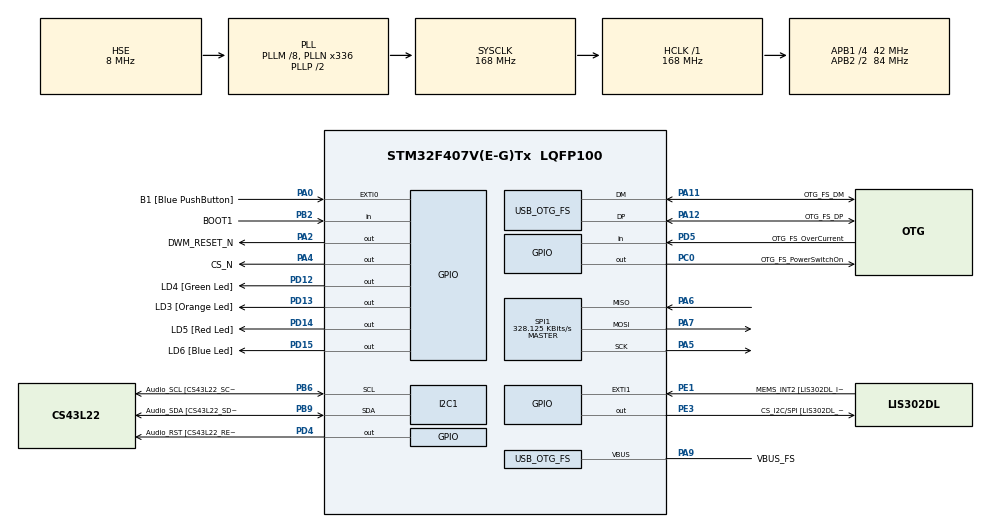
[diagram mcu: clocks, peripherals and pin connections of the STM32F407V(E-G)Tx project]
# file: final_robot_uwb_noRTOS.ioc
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Mcu.Family=STM32F4
Mcu.Name=STM32F407V(E-G)Tx
Mcu.Package=LQFP100
NVIC.OTG_FS_IRQn=true\:0\:0\:false\:false\:true\:true\:true\:true
NVIC.PriorityGroup=NVIC_PRIORITYGROUP_0
PA0-WKUP.GPIO_Label=B1 [Blue PushButton]
PA0-WKUP.GPIO_ModeDefaultEXTI=GPIO_MODE_EVT_RISING
PA0-WKUP.GPIO_PuPd=GPIO_NOPULL
PA0-WKUP.Signal=GPXTI0
PA10.GPIO_Label=OTG_FS_ID
PA10.GPIO_Mode=GPIO_MODE_AF_PP
PA10.GPIO_PuPd=GPIO_NOPULL
PA10.GPIO_Speed=GPIO_SPEED_FREQ_LOW
PA10.Signal=USB_OTG_FS_ID
PA11.GPIO_Label=OTG_FS_DM
PA11.GPIO_Mode=GPIO_MODE_AF_PP
PA11.GPIO_PuPd=GPIO_NOPULL
PA11.GPIO_Speed=GPIO_SPEED_FREQ_LOW
PA11.Mode=Host_Only
PA11.Signal=USB_OTG_FS_DM
PA12.GPIO_Label=OTG_FS_DP
PA12.GPIO_Mode=GPIO_MODE_AF_PP
PA12.GPIO_PuPd=GPIO_NOPULL
PA12.GPIO_Speed=GPIO_SPEED_FREQ_LOW
PA12.Mode=Host_Only
PA12.Signal=USB_OTG_FS_DP
PA13.GPIO_Label=SWDIO
PA13.Mode=Serial_Wire
PA13.Signal=SYS_JTMS-SWDIO
PA14.GPIO_Label=SWCLK
PA14.Mode=Serial_Wire
PA14.Signal=SYS_JTCK-SWCLK
PA2.GPIO_Label=DWM_RESET_N
PA2.GPIO_ModeDefaultOutputPP=GPIO_MODE_OUTPUT_OD
PA2.GPIO_PuPd=GPIO_PULLUP
PA2.Signal=GPIO_Output
PA4.GPIO_Label=CS_N
PA4.PinState=GPIO_PIN_SET
PA4.Signal=GPIO_Output
PA5.GPIO_Mode=GPIO_MODE_AF_PP
PA5.GPIO_PuPd=GPIO_NOPULL
PA5.GPIO_Speed=GPIO_SPEED_FREQ_VERY_HIGH
PA5.Mode=Full_Duplex_Master
PA5.Signal=SPI1_SCK
PA6.GPIO_Mode=GPIO_MODE_AF_PP
PA6.GPIO_PuPd=GPIO_NOPULL
PA6.GPIO_Speed=GPIO_SPEED_FREQ_VERY_HIGH
PA6.Mode=Full_Duplex_Master
PA6.Signal=SPI1_MISO
PA7.GPIO_Mode=GPIO_MODE_AF_PP
PA7.GPIO_PuPd=GPIO_NOPULL
PA7.GPIO_Speed=GPIO_SPEED_FREQ_VERY_HIGH
PA7.Mode=Full_Duplex_Master
PA7.Signal=SPI1_MOSI
PA9.GPIO_Label=VBUS_FS
PA9.GPIO_Mode=GPIO_MODE_INPUT
PA9.GPIO_PuPd=GPIO_NOPULL
PA9.Mode=Activate_VBUS
PA9.Signal=USB_OTG_FS_VBUS
PB10.GPIO_Label=CLK_IN [MP45DT02_CLK]
PB10.GPIO_Mode=GPIO_MODE_AF_PP
PB10.GPIO_PuPd=GPIO_NOPULL
PB10.GPIO_Speed=GPIO_SPEED_FREQ_LOW
PB10.Signal=I2S2_CK
PB2.GPIO_Label=BOOT1
PB2.GPIO_Mode=GPIO_MODE_INPUT
PB2.GPIO_PuPd=GPIO_NOPULL
PB2.Signal=GPIO_Input
PB3.GPIO_Label=SWO
PB3.Signal=SYS_JTDO-SWO
PB6.GPIO_Label=Audio_SCL [CS43L22_SCL]
PB6.GPIO_Mode=GPIO_MODE_AF_OD
PB6.GPIO_Pu=GPIO_PULLUP
PB6.GPIO_PuPd=GPIO_NOPULL
PB6.GPIO_Speed=GPIO_SPEED_FREQ_LOW
PB6.Mode=I2C
PB6.Signal=I2C1_SCL
PB9.GPIO_Label=Audio_SDA [CS43L22_SDA]
PB9.GPIO_Mode=GPIO_MODE_AF_OD
PB9.GPIO_Pu=GPIO_PULLUP
PB9.GPIO_PuPd=GPIO_NOPULL
PB9.GPIO_Speed=GPIO_SPEED_FREQ_LOW
PB9.Mode=I2C
PB9.Signal=I2C1_SDA
PC0.GPIO_Label=OTG_FS_PowerSwitchOn
PC0.GPIO_PuPd=GPIO_NOPULL
PC0.GPIO_Speed=GPIO_SPEED_FREQ_LOW
PC0.PinState=GPIO_PIN_SET
PC0.Signal=GPIO_Output
PC10.GPIO_Label=I2S3_SCK [CS43L22_SCLK]
PC10.GPIO_Mode=GPIO_MODE_AF_PP
PC10.GPIO_PuPd=GPIO_NOPULL
PC10.GPIO_Speed=GPIO_SPEED_FREQ_LOW
PC10.Signal=I2S3_CK
PC12.GPIO_Label=I2S3_SD [CS43L22_SDIN]
PC12.GPIO_Mode=GPIO_MODE_AF_PP
PC12.GPIO_PuPd=GPIO_NOPULL
PC12.GPIO_Speed=GPIO_SPEED_FREQ_LOW
PC12.Signal=I2S3_SD
PC14-OSC32_IN.GPIO_Label=PC14-OSC32_IN
PC14-OSC32_IN.Mode=LSE-External-Oscillator
PC14-OSC32_IN.Signal=RCC_OSC32_IN
PC15-OSC32_OUT.GPIO_Label=PC15-OSC32_OUT
PC15-OSC32_OUT.Mode=LSE-External-Oscillator
PC15-OSC32_OUT.Signal=RCC_OSC32_OUT
PC3.GPIO_Label=PDM_OUT [MP45DT02_DOUT]
PC3.GPIO_Mode=GPIO_MODE_AF_PP
PC3.GPIO_PuPd=GPIO_NOPULL
PC3.GPIO_Speed=GPIO_SPEED_FREQ_LOW
PC3.Signal=I2S2_SD
PC7.GPIO_Label=I2S3_MCK [CS43L22_MCLK]
PC7.GPIO_Mode=GPIO_MODE_AF_PP
PC7.GPIO_PuPd=GPIO_NOPULL
PC7.GPIO_Speed=GPIO_SPEED_FREQ_LOW
PC7.Signal=I2S3_MCK
PD12.GPIO_Label=LD4 [Green Led]
PD12.GPIO_PuPd=GPIO_NOPULL
PD12.GPIO_Speed=GPIO_SPEED_FREQ_LOW
PD12.Signal=GPIO_Output
PD13.GPIO_Label=LD3 [Orange Led]
PD13.GPIO_PuPd=GPIO_NOPULL
PD13.GPIO_Speed=GPIO_SPEED_FREQ_LOW
PD13.Signal=GPIO_Output
PD14.GPIO_Label=LD5 [Red Led]
PD14.GPIO_PuPd=GPIO_NOPULL
PD14.GPIO_Speed=GPIO_SPEED_FREQ_LOW
PD14.Signal=GPIO_Output
PD15.GPIO_Label=LD6 [Blue Led]
PD15.GPIO_PuPd=GPIO_NOPULL
PD15.GPIO_Speed=GPIO_SPEED_FREQ_LOW
PD15.Signal=GPIO_Output
PD4.GPIO_Label=Audio_RST [CS43L22_RESET]
PD4.GPIO_PuPd=GPIO_NOPULL
PD4.GPIO_Speed=GPIO_SPEED_FREQ_LOW
PD4.Signal=GPIO_Output
PD5.GPIO_Label=OTG_FS_OverCurrent
PD5.GPIO_Mode=GPIO_MODE_INPUT
PD5.GPIO_PuPd=GPIO_NOPULL
PD5.Signal=GPIO_Input
PE1.GPIO_Label=MEMS_INT2 [LIS302DL_INT2]
PE1.GPIO_ModeDefaultEXTI=GPIO_MODE_EVT_RISING
PE1.GPIO_PuPd=GPIO_NOPULL
PE1.Signal=GPXTI1
PE3.GPIO_Label=CS_I2C/SPI [LIS302DL_CS_I2C/SPI]
PE3.GPIO_PuPd=GPIO_NOPULL
PE3.GPIO_Speed=GPIO_SPEED_FREQ_LOW
PE3.Signal=GPIO_Output
PH0-OSC_IN.GPIO_Label=PH0-OSC_IN
PH0-OSC_IN.Mode=HSE-External-Oscillator
PH0-OSC_IN.Signal=RCC_OSC_IN
PH1-OSC_OUT.GPIO_Label=PH1-OSC_OUT
PH1-OSC_OUT.Mode=HSE-External-Oscillator
PH1-OSC_OUT.Signal=RCC_OSC_OUT
ProjectManager.HeapSize=0x200
ProjectManager.StackSize=0x400
ProjectManager.TargetToolchain=STM32CubeIDE
RCC.48MHZClocksFreq_Value=48000000
RCC.AHBFreq_Value=168000000
RCC.APB1CLKDivider=RCC_HCLK_DIV4
RCC.APB1Freq_Value=42000000
RCC.APB1TimFreq_Value=84000000
RCC.APB2CLKDivider=RCC_HCLK_DIV2
RCC.APB2Freq_Value=84000000
RCC.APB2TimFreq_Value=168000000
RCC.CortexFreq_Value=168000000
RCC.HCLKFreq_Value=168000000
RCC.HSE_VALUE=8000000
RCC.HSI_VALUE=16000000
RCC.PLLM=8
RCC.PLLN=336
RCC.PLLQ=7
RCC.SYSCLKFreq_VALUE=168000000
RCC.SYSCLKSource=RCC_SYSCLKSOURCE_PLLCLK
RCC.VCOOutputFreq_Value=336000000
SPI1.BaudRatePrescaler=SPI_BAUDRATEPRESCALER_256
SPI1.CalculateBaudRate=328.125 KBits/s
SPI1.Direction=SPI_DIRECTION_2LINES
SPI1.FirstBit=SPI_FIRSTBIT_MSB
SPI1.Mode=SPI_MODE_MASTER
SPI1.VirtualType=VM_MASTER
USB_HOST.BSP.number=1
USB_HOST.USBH_HandleTypeDef-CDC_FS=hUsbHostFS
USB_HOST.VirtualModeFS=Cdc
USB_HOST0.BSP.STBoard=false
USB_HOST0.BSP.api=Unknown
USB_HOST0.BSP.instance=PC0
USB_HOST0.BSP.ip=GPIO
USB_HOST0.BSP.mode=Output
USB_HOST0.BSP.name=Drive_VBUS_FS
USB_HOST0.BSP.solution=PC0
USB_OTG_FS.VirtualMode=Host_Only
USB_OTG_FS.phy_itface=HCD_PHY_EMBEDDED
VP_USB_HOST_VS_USB_HOST_CDC_FS.Mode=CDC_FS
board=STM32F407G-DISC1

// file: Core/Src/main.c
/* USER CODE BEGIN Header */
/**
  ******************************************************************************
  * @file           : main.c
  * @brief          : Main program body
  ******************************************************************************
  * @attention
  *
  * Copyright (c) 2026 STMicroelectronics.
  * All rights reserved.
  *
  * This software is licensed under terms that can be found in the LICENSE file
  * in the root directory of this software component.
  * If no LICENSE file comes with this software, it is provided AS-IS.
  *
  ******************************************************************************
  */
/* USER CODE END Header */
#include "main.h"
#include "usb_host.h"

/* USER CODE BEGIN Includes */
#include "dwm1000.h"

/* USER CODE END Includes */

/* USER CODE BEGIN PD */
  int count = 0;

/* USER CODE END PD */

I2C_HandleTypeDef hi2c1;

SPI_HandleTypeDef hspi1;

/* USER CODE BEGIN PV */
int test_counter = 0;
uint8_t device_id[4] = {0};
uint8_t device_id_low[2] = {0};
int count_uwb = 0;
uint64_t uwb_dist_running_sum = 0;

uint64_t uwb_dist_cm = 0;

bool uwb_return = false;

// DWM_MODULE_STRUCTURES
DWM_Module dwm1 = {
    .cs_port = CS_N_GPIO_Port,
    .cs_pin  = CS_N_Pin,
    .reset_port = DWM_RESET_N_GPIO_Port,
    .reset_pin  = DWM_RESET_N_Pin
};
/* USER CODE END PV */

void SystemClock_Config(void);
static void MX_GPIO_Init(void);
static void MX_I2C1_Init(void);
static void MX_SPI1_Init(void);
void MX_USB_HOST_Process(void);

int main(void)
{

  /* MCU Configuration--------------------------------------------------------*/

  /* Reset of all peripherals, Initializes the Flash interface and the Systick. */
	HAL_Init();

  /* Configure the system clock */
  SystemClock_Config();

  /* Initialize all configured peripherals */
  MX_GPIO_Init();
  MX_I2C1_Init();
  MX_SPI1_Init();
  MX_USB_HOST_Init();
  /* USER CODE BEGIN 2 */
  dwm_reset(&dwm1);

//  dwm_configure(&dwm1);

  // Stop SPI
//  HAL_SPI_DeInit(&hspi1);
//
//  // Change prescaler to fast
//  hspi1.Init.BaudRatePrescaler = SPI_BAUDRATEPRESCALER_8;
//
//  // Re-init SPI
//  HAL_SPI_Init(&hspi1);

  /* USER CODE END 2 */

  /* Infinite loop */
  while (1)
  {
    MX_USB_HOST_Process();

    /* USER CODE BEGIN 3 */

    test_counter++;
	dwm_read_reg(&dwm1, 0x00, device_id, 4);
	HAL_Delay(10);

//	dwm_read_reg_sub(&dwm1, 0x40, 0x02, device_id_low, 2);

  }
  /* USER CODE END 3 */
}

void SystemClock_Config(void)
{
  RCC_OscInitTypeDef RCC_OscInitStruct = {0};
  RCC_ClkInitTypeDef RCC_ClkInitStruct = {0};

  /** Configure the main internal regulator output voltage
  */
  __HAL_RCC_PWR_CLK_ENABLE();
  __HAL_PWR_VOLTAGESCALING_CONFIG(PWR_REGULATOR_VOLTAGE_SCALE1);

  /** Initializes the RCC Oscillators according to the specified parameters
  * in the RCC_OscInitTypeDef structure.
  */
  RCC_OscInitStruct.OscillatorType = RCC_OSCILLATORTYPE_HSE;
  RCC_OscInitStruct.HSEState = RCC_HSE_ON;
  RCC_OscInitStruct.PLL.PLLState = RCC_PLL_ON;
  RCC_OscInitStruct.PLL.PLLSource = RCC_PLLSOURCE_HSE;
  RCC_OscInitStruct.PLL.PLLM = 8;
  RCC_OscInitStruct.PLL.PLLN = 336;
  RCC_OscInitStruct.PLL.PLLP = RCC_PLLP_DIV2;
  RCC_OscInitStruct.PLL.PLLQ = 7;
  if (HAL_RCC_OscConfig(&RCC_OscInitStruct) != HAL_OK)
  {
    Error_Handler();
  }

  /** Initializes the CPU, AHB and APB buses clocks
  */
  RCC_ClkInitStruct.ClockType = RCC_CLOCKTYPE_HCLK|RCC_CLOCKTYPE_SYSCLK
                              |RCC_CLOCKTYPE_PCLK1|RCC_CLOCKTYPE_PCLK2;
  RCC_ClkInitStruct.SYSCLKSource = RCC_SYSCLKSOURCE_PLLCLK;
  RCC_ClkInitStruct.AHBCLKDivider = RCC_SYSCLK_DIV1;
  RCC_ClkInitStruct.APB1CLKDivider = RCC_HCLK_DIV4;
  RCC_ClkInitStruct.APB2CLKDivider = RCC_HCLK_DIV2;

  if (HAL_RCC_ClockConfig(&RCC_ClkInitStruct, FLASH_LATENCY_5) != HAL_OK)
  {
    Error_Handler();
  }
}

static void MX_I2C1_Init(void)
{

  hi2c1.Instance = I2C1;
  hi2c1.Init.ClockSpeed = 100000;
  hi2c1.Init.DutyCycle = I2C_DUTYCYCLE_2;
  hi2c1.Init.OwnAddress1 = 0;
  hi2c1.Init.AddressingMode = I2C_ADDRESSINGMODE_7BIT;
  hi2c1.Init.DualAddressMode = I2C_DUALADDRESS_DISABLE;
  hi2c1.Init.OwnAddress2 = 0;
  hi2c1.Init.GeneralCallMode = I2C_GENERALCALL_DISABLE;
  hi2c1.Init.NoStretchMode = I2C_NOSTRETCH_DISABLE;
  if (HAL_I2C_Init(&hi2c1) != HAL_OK)
  {
    Error_Handler();
  }

}

static void MX_SPI1_Init(void)
{

  /* SPI1 parameter configuration*/
  hspi1.Instance = SPI1;
  hspi1.Init.Mode = SPI_MODE_MASTER;
  hspi1.Init.Direction = SPI_DIRECTION_2LINES;
  hspi1.Init.DataSize = SPI_DATASIZE_8BIT;
  hspi1.Init.CLKPolarity = SPI_POLARITY_LOW;
  hspi1.Init.CLKPhase = SPI_PHASE_1EDGE;
  hspi1.Init.NSS = SPI_NSS_SOFT;
  hspi1.Init.BaudRatePrescaler = SPI_BAUDRATEPRESCALER_256;
  hspi1.Init.FirstBit = SPI_FIRSTBIT_MSB;
  hspi1.Init.TIMode = SPI_TIMODE_DISABLE;
  hspi1.Init.CRCCalculation = SPI_CRCCALCULATION_DISABLE;
  hspi1.Init.CRCPolynomial = 10;
  if (HAL_SPI_Init(&hspi1) != HAL_OK)
  {
    Error_Handler();
  }

}

static void MX_GPIO_Init(void)
{
  GPIO_InitTypeDef GPIO_InitStruct = {0};

  /* GPIO Ports Clock Enable */
  __HAL_RCC_GPIOE_CLK_ENABLE();
  __HAL_RCC_GPIOC_CLK_ENABLE();
  __HAL_RCC_GPIOH_CLK_ENABLE();
  __HAL_RCC_GPIOA_CLK_ENABLE();
  __HAL_RCC_GPIOB_CLK_ENABLE();
  __HAL_RCC_GPIOD_CLK_ENABLE();

  /*Configure GPIO pin Output Level */
  HAL_GPIO_WritePin(CS_I2C_SPI_GPIO_Port, CS_I2C_SPI_Pin, GPIO_PIN_RESET);

  /*Configure GPIO pin Output Level */
  HAL_GPIO_WritePin(OTG_FS_PowerSwitchOn_GPIO_Port, OTG_FS_PowerSwitchOn_Pin, GPIO_PIN_SET);

  /*Configure GPIO pin Output Level */
  HAL_GPIO_WritePin(DWM_RESET_N_GPIO_Port, DWM_RESET_N_Pin, GPIO_PIN_RESET);

  /*Configure GPIO pin Output Level */
  HAL_GPIO_WritePin(CS_N_GPIO_Port, CS_N_Pin, GPIO_PIN_SET);

  /*Configure GPIO pin Output Level */
  HAL_GPIO_WritePin(GPIOD, LD4_Pin|LD3_Pin|LD5_Pin|LD6_Pin
                          |Audio_RST_Pin, GPIO_PIN_RESET);

  /*Configure GPIO pin : CS_I2C_SPI_Pin */
  GPIO_InitStruct.Pin = CS_I2C_SPI_Pin;
  GPIO_InitStruct.Mode = GPIO_MODE_OUTPUT_PP;
  GPIO_InitStruct.Pull = GPIO_NOPULL;
  GPIO_InitStruct.Speed = GPIO_SPEED_FREQ_LOW;
  HAL_GPIO_Init(CS_I2C_SPI_GPIO_Port, &GPIO_InitStruct);

  /*Configure GPIO pin : OTG_FS_PowerSwitchOn_Pin */
  GPIO_InitStruct.Pin = OTG_FS_PowerSwitchOn_Pin;
  GPIO_InitStruct.Mode = GPIO_MODE_OUTPUT_PP;
  GPIO_InitStruct.Pull = GPIO_NOPULL;
  GPIO_InitStruct.Speed = GPIO_SPEED_FREQ_LOW;
  HAL_GPIO_Init(OTG_FS_PowerSwitchOn_GPIO_Port, &GPIO_InitStruct);

  /*Configure GPIO pin : PDM_OUT_Pin */
  GPIO_InitStruct.Pin = PDM_OUT_Pin;
  GPIO_InitStruct.Mode = GPIO_MODE_AF_PP;
  GPIO_InitStruct.Pull = GPIO_NOPULL;
  GPIO_InitStruct.Speed = GPIO_SPEED_FREQ_LOW;
  GPIO_InitStruct.Alternate = GPIO_AF5_SPI2;
  HAL_GPIO_Init(PDM_OUT_GPIO_Port, &GPIO_InitStruct);

  /*Configure GPIO pin : B1_Pin */
  GPIO_InitStruct.Pin = B1_Pin;
  GPIO_InitStruct.Mode = GPIO_MODE_EVT_RISING;
  GPIO_InitStruct.Pull = GPIO_NOPULL;
  HAL_GPIO_Init(B1_GPIO_Port, &GPIO_InitStruct);

  /*Configure GPIO pin : DWM_RESET_N_Pin */
  GPIO_InitStruct.Pin = DWM_RESET_N_Pin;
  GPIO_InitStruct.Mode = GPIO_MODE_OUTPUT_OD;
  GPIO_InitStruct.Pull = GPIO_PULLUP;
  GPIO_InitStruct.Speed = GPIO_SPEED_FREQ_LOW;
  HAL_GPIO_Init(DWM_RESET_N_GPIO_Port, &GPIO_InitStruct);

  /*Configure GPIO pin : CS_N_Pin */
  GPIO_InitStruct.Pin = CS_N_Pin;
  GPIO_InitStruct.Mode = GPIO_MODE_OUTPUT_PP;
  GPIO_InitStruct.Pull = GPIO_NOPULL;
  GPIO_InitStruct.Speed = GPIO_SPEED_FREQ_LOW;
  HAL_GPIO_Init(CS_N_GPIO_Port, &GPIO_InitStruct);

  /*Configure GPIO pin : BOOT1_Pin */
  GPIO_InitStruct.Pin = BOOT1_Pin;
  GPIO_InitStruct.Mode = GPIO_MODE_INPUT;
  GPIO_InitStruct.Pull = GPIO_NOPULL;
  HAL_GPIO_Init(BOOT1_GPIO_Port, &GPIO_InitStruct);

  /*Configure GPIO pin : CLK_IN_Pin */
  GPIO_InitStruct.Pin = CLK_IN_Pin;
  GPIO_InitStruct.Mode = GPIO_MODE_AF_PP;
  GPIO_InitStruct.Pull = GPIO_NOPULL;
  GPIO_InitStruct.Speed = GPIO_SPEED_FREQ_LOW;
  GPIO_InitStruct.Alternate = GPIO_AF5_SPI2;
  HAL_GPIO_Init(CLK_IN_GPIO_Port, &GPIO_InitStruct);

  /*Configure GPIO pins : LD4_Pin LD3_Pin LD5_Pin LD6_Pin
                           Audio_RST_Pin */
  GPIO_InitStruct.Pin = LD4_Pin|LD3_Pin|LD5_Pin|LD6_Pin
                          |Audio_RST_Pin;
  GPIO_InitStruct.Mode = GPIO_MODE_OUTPUT_PP;
  GPIO_InitStruct.Pull = GPIO_NOPULL;
  GPIO_InitStruct.Speed = GPIO_SPEED_FREQ_LOW;
  HAL_GPIO_Init(GPIOD, &GPIO_InitStruct);

  /*Configure GPIO pins : I2S3_MCK_Pin I2S3_SCK_Pin I2S3_SD_Pin */
  GPIO_InitStruct.Pin = I2S3_MCK_Pin|I2S3_SCK_Pin|I2S3_SD_Pin;
  GPIO_InitStruct.Mode = GPIO_MODE_AF_PP;
  GPIO_InitStruct.Pull = GPIO_NOPULL;
  GPIO_InitStruct.Speed = GPIO_SPEED_FREQ_LOW;
  GPIO_InitStruct.Alternate = GPIO_AF6_SPI3;
  HAL_GPIO_Init(GPIOC, &GPIO_InitStruct);

  /*Configure GPIO pin : OTG_FS_OverCurrent_Pin */
  GPIO_InitStruct.Pin = OTG_FS_OverCurrent_Pin;
  GPIO_InitStruct.Mode = GPIO_MODE_INPUT;
  GPIO_InitStruct.Pull = GPIO_NOPULL;
  HAL_GPIO_Init(OTG_FS_OverCurrent_GPIO_Port, &GPIO_InitStruct);

  /*Configure GPIO pin : MEMS_INT2_Pin */
  GPIO_InitStruct.Pin = MEMS_INT2_Pin;
  GPIO_InitStruct.Mode = GPIO_MODE_EVT_RISING;
  GPIO_InitStruct.Pull = GPIO_NOPULL;
  HAL_GPIO_Init(MEMS_INT2_GPIO_Port, &GPIO_InitStruct);

}

void Error_Handler(void)
{
  __disable_irq();
  while (1)
  {
  }
}
